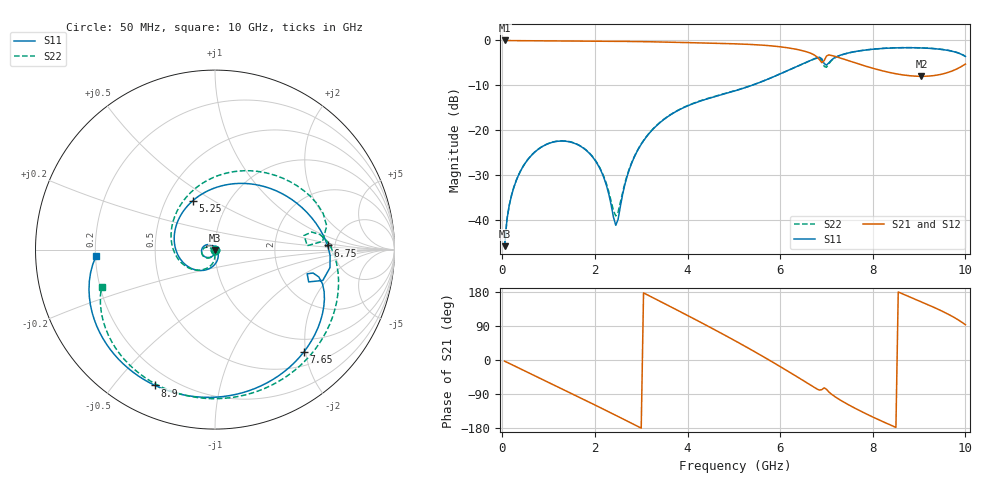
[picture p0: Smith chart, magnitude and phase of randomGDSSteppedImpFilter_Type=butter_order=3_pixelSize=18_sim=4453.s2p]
! freq	dB(S11)	phase(S11)	dB(S12)	phase(S12)
!  dB(S21)	phase(S21)	dB(S22)	phase(S22)
!S-par simulation data
#  GHz  S  DB  R 50
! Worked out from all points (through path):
!   200 points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, 50 MHz to 10 GHz, reference 50 ohm
!   highest |S21| = -0.02 dB at 50 MHz (marker M1); lowest = -8.0 dB at 9.05 GHz (marker M2)
!   group delay of S21, straight-line fit = 177 ps
!   lowest |S11| = -45.7 dB at 50 MHz (marker M3), VSWR 1.01, Z = 50.2 - j0.485 ohm
!   |S11| at or under -10 dB: start of sweep to 5.389 GHz
!   |S22| runs from -45.7 to -1.6 dB; largest |S21 - S12| = 0
!   S11 on the Smith chart (normalised r, x): 50 MHz: 1.00, -0.01; 5.25 GHz: 0.68, +0.41; 6.75 GHz: 4.35, +0.33; 7.65 GHz: 0.74, -1.96; 8.9 GHz: 0.13, -0.64; 10 GHz: 0.20, -0.02
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0.05  -45.72 -69.1  -0.02 -3.0  -0.02 -3.0  -45.71 -69.0
0.2  -34.41 -89.8  -0.06 -11.9  -0.06 -11.9  -34.37 -89.1
0.55  -26.50 -118.9  -0.09 -32.7  -0.09 -32.7  -26.47 -116.5
1.15  -22.49 -158.8  -0.15 -68.1  -0.15 -68.1  -22.45 -152.9
1.75  -23.93 161.1  -0.18 -103.7  -0.18 -103.7  -23.87 174.4
2.15  -29.41 128.6  -0.20 -127.7  -0.20 -127.7  -29.22 160.1
2.45  -41.08 38.7  -0.21 -145.9  -0.21 -145.9  -39.01 -149.3
2.8  -27.12 -66.3  -0.25 -167.4  -0.25 -167.4  -26.98 -91.3
3.4  -18.31 -112.8  -0.36 155.3  -0.36 155.3  -18.26 -117.4
4.25  -13.58 -172.2  -0.56 101.6  -0.56 101.6  -13.52 -165.1
5.05  -11.14 129.5  -0.78 49.2  -0.78 49.2  -11.09 147.6
5.25  -10.49 114.6  -0.86 35.6  -0.86 35.6  -10.45 135.0
5.95  -7.67 62.6  -1.37 -13.7  -1.37 -13.7  -7.68 87.5
6.7  -4.26 6.5  -3.04 -69.6  -3.04 -69.6  -4.30 29.0
6.75  -4.04 2.1  -3.33 -73.3  -3.33 -73.3  -4.10 24.1
7  -5.50 -14.7  -3.50 -77.2  -3.50 -77.2  -5.98 9.0
7.65  -2.44 -49.1  -5.10 -129.4  -5.10 -129.4  -2.44 -30.1
8.35  -1.72 -86.9  -7.11 -169.9  -7.11 -169.9  -1.71 -70.5
8.9  -1.65 -113.9  -7.94 161.3  -7.94 161.3  -1.62 -98.6
9.05  -1.69 -121.2  -7.99 153.5  -7.99 153.5  -1.66 -106.2
9.6  -2.19 -150.0  -7.21 122.6  -7.21 122.6  -2.16 -135.3
10  -3.58 -177.1  -5.27 93.1  -5.27 93.1  -3.55 -162.0
